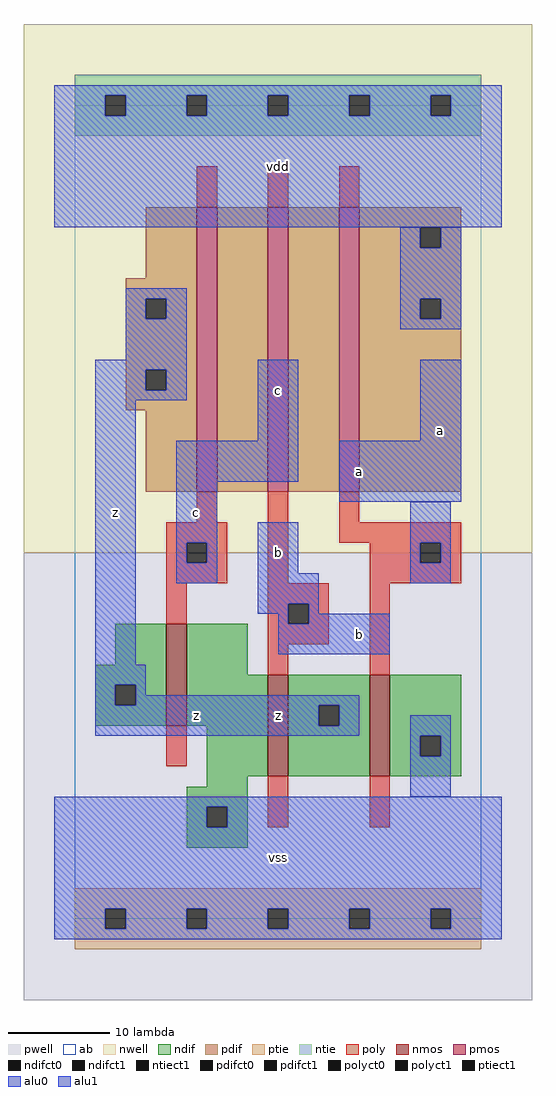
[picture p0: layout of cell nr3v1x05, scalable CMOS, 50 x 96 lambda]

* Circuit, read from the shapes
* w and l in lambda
.subckt nr3v1x05 a b c vdd vss z
M1 vss c z vss nfet w=10 l=2
M2 z b vss vss nfet w=10 l=2
M3 vss a z vss nfet w=10 l=2
M4 n1 c z vdd pfet w=28 l=2
M5 n2 b n1 vdd pfet w=28 l=2
M6 vdd a n2 vdd pfet w=28 l=2
.ends

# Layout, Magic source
magic
tech scmos
<< ab >>
rect 0 0 40 80
<< nwell >>
rect -5 36 45 88
<< pwell >>
rect -5 -8 45 36
<< poly >>
rect 12 70 14 74
rect 19 70 21 74
rect 26 70 28 74
rect 12 39 14 42
rect 9 37 15 39
rect 9 35 11 37
rect 13 35 15 37
rect 9 33 15 35
rect 19 33 21 42
rect 26 39 28 42
rect 26 37 38 39
rect 29 35 34 37
rect 36 35 38 37
rect 29 33 38 35
rect 9 29 11 33
rect 19 31 25 33
rect 19 29 21 31
rect 23 29 25 31
rect 19 27 25 29
rect 19 24 21 27
rect 29 24 31 33
rect 9 15 11 19
rect 19 9 21 14
rect 29 9 31 14
<< ndif >>
rect 4 25 9 29
rect 2 23 9 25
rect 2 21 4 23
rect 6 21 9 23
rect 2 19 9 21
rect 11 24 17 29
rect 11 19 19 24
rect 13 14 19 19
rect 21 21 29 24
rect 21 19 24 21
rect 26 19 29 21
rect 21 14 29 19
rect 31 18 38 24
rect 31 16 34 18
rect 36 16 38 18
rect 31 14 38 16
rect 13 13 17 14
rect 11 11 17 13
rect 11 9 13 11
rect 15 9 17 11
rect 11 7 17 9
<< pdif >>
rect 7 63 12 70
rect 5 61 12 63
rect 5 59 7 61
rect 9 59 12 61
rect 5 54 12 59
rect 5 52 7 54
rect 9 52 12 54
rect 5 50 12 52
rect 7 42 12 50
rect 14 42 19 70
rect 21 42 26 70
rect 28 68 38 70
rect 28 66 34 68
rect 36 66 38 68
rect 28 61 38 66
rect 28 59 34 61
rect 36 59 38 61
rect 28 42 38 59
<< alu1 >>
rect -2 81 42 82
rect -2 79 3 81
rect 5 79 11 81
rect 13 79 19 81
rect 21 79 27 81
rect 29 79 35 81
rect 37 79 42 81
rect -2 68 42 79
rect 5 61 11 62
rect 5 59 7 61
rect 9 59 11 61
rect 5 55 11 59
rect 2 54 11 55
rect 2 52 7 54
rect 9 52 11 54
rect 2 51 11 52
rect 2 25 6 51
rect 18 47 22 55
rect 34 47 38 55
rect 10 43 22 47
rect 10 37 14 43
rect 26 41 38 47
rect 10 35 11 37
rect 13 35 14 37
rect 10 33 14 35
rect 18 34 22 39
rect 18 31 24 34
rect 18 30 21 31
rect 20 29 21 30
rect 23 30 24 31
rect 23 29 31 30
rect 20 26 31 29
rect 2 23 7 25
rect 2 21 4 23
rect 6 22 7 23
rect 6 21 28 22
rect 2 19 24 21
rect 26 19 28 21
rect 2 18 28 19
rect -2 11 42 12
rect -2 9 13 11
rect 15 9 42 11
rect -2 1 42 9
rect -2 -1 3 1
rect 5 -1 11 1
rect 13 -1 19 1
rect 21 -1 27 1
rect 29 -1 35 1
rect 37 -1 42 1
rect -2 -2 42 -1
<< ptie >>
rect 0 1 40 3
rect 0 -1 3 1
rect 5 -1 11 1
rect 13 -1 19 1
rect 21 -1 27 1
rect 29 -1 35 1
rect 37 -1 40 1
rect 0 -3 40 -1
<< ntie >>
rect 0 81 40 83
rect 0 79 3 81
rect 5 79 11 81
rect 13 79 19 81
rect 21 79 27 81
rect 29 79 35 81
rect 37 79 40 81
rect 0 77 40 79
<< nmos >>
rect 9 19 11 29
rect 19 14 21 24
rect 29 14 31 24
<< pmos >>
rect 12 42 14 70
rect 19 42 21 70
rect 26 42 28 70
<< polyct0 >>
rect 34 35 36 37
<< polyct1 >>
rect 11 35 13 37
rect 21 29 23 31
<< ndifct0 >>
rect 34 16 36 18
<< ndifct1 >>
rect 4 21 6 23
rect 24 19 26 21
rect 13 9 15 11
<< ntiect1 >>
rect 3 79 5 81
rect 11 79 13 81
rect 19 79 21 81
rect 27 79 29 81
rect 35 79 37 81
<< ptiect1 >>
rect 3 -1 5 1
rect 11 -1 13 1
rect 19 -1 21 1
rect 27 -1 29 1
rect 35 -1 37 1
<< pdifct0 >>
rect 34 66 36 68
rect 34 59 36 61
<< pdifct1 >>
rect 7 59 9 61
rect 7 52 9 54
<< alu0 >>
rect 32 66 34 68
rect 36 66 38 68
rect 32 61 38 66
rect 32 59 34 61
rect 36 59 38 61
rect 32 58 38 59
rect 33 37 37 41
rect 33 35 34 37
rect 36 35 37 37
rect 33 33 37 35
rect 33 18 37 20
rect 33 16 34 18
rect 36 16 37 18
rect 33 12 37 16
<< labels >>
rlabel alu1 4 40 4 40 6 z
rlabel alu1 12 20 12 20 6 z
rlabel alu1 12 40 12 40 6 c
rlabel alu1 20 6 20 6 6 vss
rlabel alu1 20 6 20 6 6 vss
rlabel alu1 20 20 20 20 6 z
rlabel alu1 20 36 20 36 6 b
rlabel alu1 28 28 28 28 6 b
rlabel alu1 28 44 28 44 6 a
rlabel alu1 20 52 20 52 6 c
rlabel alu1 20 74 20 74 6 vdd
rlabel alu1 20 74 20 74 6 vdd
rlabel alu1 36 48 36 48 6 a
<< end >>
